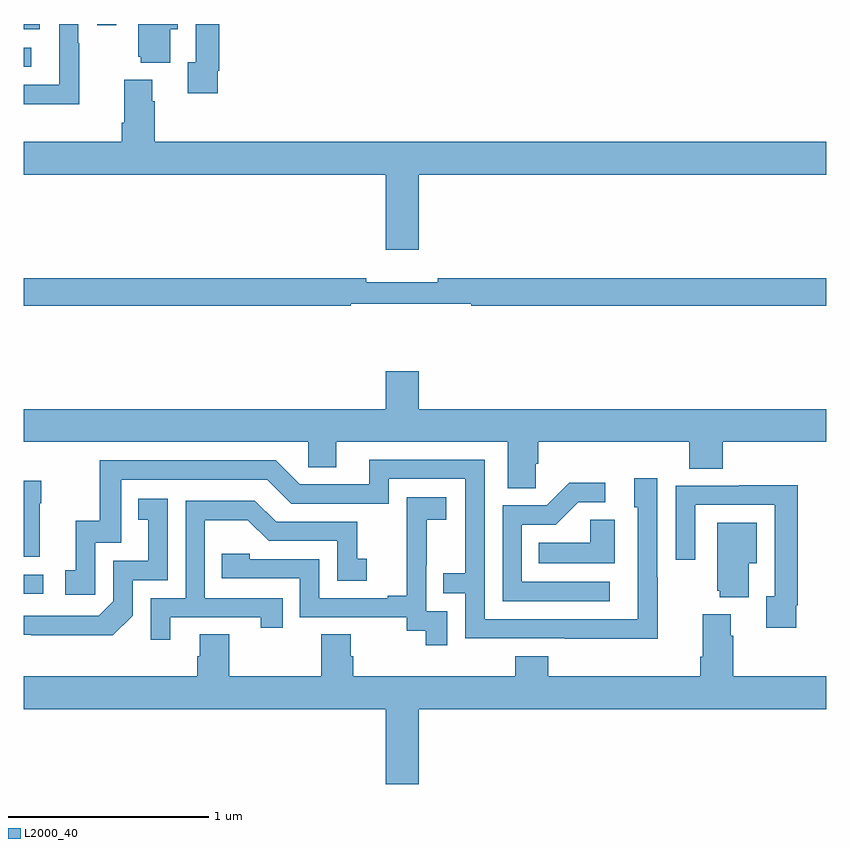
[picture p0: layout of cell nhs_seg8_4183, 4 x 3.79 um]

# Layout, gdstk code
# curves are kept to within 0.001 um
import gdstk
lib = gdstk.Library(unit=1e-6, precision=1e-09)
def R(c, l, rs):  # rectangles x0, y0, x1, y1
    for r in rs: c.add(gdstk.rectangle(r[:2], r[2:], *l))
def P(c, l, *ps):  # polygons
    for p in ps: c.add(gdstk.Polygon(p, *l))
L2000_40 = (2000, 40)

nhs_seg8_4183 = lib.new_cell('nhs_seg8_4183')
R(nhs_seg8_4183, L2000_40, [(367,1133.058,367.096,1133.154), (367,1135.686,367.036,1135.782), (367,1135.874,367.078,1135.9), (367.365,1135.893,367.461,1135.9)])
P(nhs_seg8_4183, L2000_40, [(367.275,1135.805),(367.272,1135.805),(367.272,1135.9),(367.176,1135.9),(367.176,1135.826),(367.175,1135.826),(367.175,1135.596),(367,1135.596),(367,1135.499),(367.275,1135.499)],
  [(367.729,1135.874),(367.768,1135.874),(367.768,1135.9),(367.571,1135.9),(367.571,1135.737),(367.583,1135.737),(367.583,1135.706),(367.729,1135.706)],
  [(367.966,1135.666),(367.973,1135.666),(367.973,1135.9),(367.857,1135.9),(367.857,1135.71),(367.817,1135.71),(367.817,1135.554),(367.966,1135.554)],
  [(368.968,1135.148),(371,1135.148),(371,1135.312),(367.652,1135.312),(367.652,1135.514),(367.639,1135.514),(367.639,1135.621),(367.499,1135.621),(367.499,1135.408),(367.487,1135.408),(367.487,1135.312),(367,1135.312),(367,1135.148),(368.804,1135.148),(368.804,1134.774),(368.968,1134.774)],
  [(368.63,1134.504),(369.23,1134.504),(369.23,1134.496),(371,1134.496),(371,1134.632),(369.064,1134.632),(369.064,1134.613),(368.708,1134.613),(368.708,1134.632),(367,1134.632),(367,1134.496),(368.63,1134.496)],
  [(369.552,1133.707),(369.566,1133.707),(369.566,1133.816),(370.319,1133.816),(370.319,1133.683),(370.484,1133.683),(370.484,1133.816),(371,1133.816),(371,1133.98),(368.968,1133.98),(368.968,1134.169),(368.804,1134.169),(368.804,1133.98),(367,1133.98),(367,1133.816),(368.418,1133.816),(368.418,1133.689),(368.557,1133.689),(368.557,1133.816),(369.413,1133.816),(369.413,1133.584),(369.552,1133.584)],
  [(370.161,1133.141),(370.158,1133.141),(370.158,1133.635),(370.043,1133.635),(370.043,1133.49),(370.062,1133.49),(370.062,1132.932),(369.297,1132.932),(369.297,1133.727),(368.723,1133.727),(368.723,1133.604),(368.376,1133.604),(368.256,1133.724),(367.377,1133.724),(367.377,1133.422),(367.259,1133.422),(367.259,1133.175),(367.206,1133.175),(367.206,1133.055),(367.356,1133.055),(367.356,1133.313),(367.485,1133.313),(367.485,1133.628),(368.214,1133.628),(368.334,1133.508),(368.82,1133.508),(368.82,1133.631),(369.201,1133.631),(369.201,1133.162),(369.091,1133.162),(369.091,1133.061),(369.201,1133.061),(369.201,1132.836),(370.161,1132.835)],
  [(367.078,1133.51),(367.086,1133.51),(367.086,1133.623),(367,1133.623),(367,1133.243),(367.078,1133.243)],
  [(369.922,1133.118),(369.483,1133.118),(369.483,1133.403),(369.652,1133.403),(369.763,1133.514),(369.898,1133.514),(369.898,1133.612),(369.719,1133.612),(369.606,1133.499),(369.387,1133.499),(369.387,1133.022),(369.922,1133.022)],
  [(370.852,1133.002),(370.859,1133.002),(370.859,1133.6),(370.567,1133.6),(370.567,1133.598),(370.251,1133.598),(370.251,1133.229),(370.347,1133.229),(370.347,1133.502),(370.743,1133.502),(370.743,1133.046),(370.703,1133.046),(370.703,1132.89),(370.852,1132.89)],
  [(369.111,1132.971),(369.006,1132.971),(369.006,1133.201),(369.008,1133.201),(369.008,1133.429),(369.106,1133.429),(369.106,1133.539),(368.908,1133.539),(368.908,1133.333),(368.909,1133.333),(368.909,1133.05),(368.813,1133.05),(368.813,1133.037),(368.472,1133.037),(368.472,1133.232),(368.127,1133.232),(368.127,1133.259),(367.987,1133.259),(367.987,1133.136),(368.376,1133.136),(368.376,1132.941),(368.91,1132.941),(368.91,1132.873),(369.003,1132.873),(369.003,1132.803),(369.111,1132.803)],
  [(367.542,1132.95),(367.542,1133.127),(367.716,1133.127),(367.716,1133.533),(367.57,1133.533),(367.57,1133.427),(367.619,1133.427),(367.619,1133.223),(367.446,1133.223),(367.446,1133.022),(367.374,1132.95),(367,1132.95),(367,1132.854),(367.036,1132.853),(367.444,1132.853)],
  [(367.729,1132.941),(368.18,1132.941),(368.18,1132.89),(368.291,1132.89),(368.291,1133.037),(367.902,1133.037),(367.902,1133.426),(368.116,1133.426),(368.22,1133.322),(368.562,1133.322),(368.562,1133.124),(368.71,1133.124),(368.71,1133.233),(368.661,1133.233),(368.661,1133.418),(368.257,1133.418),(368.152,1133.523),(367.806,1133.523),(367.806,1133.037),(367.632,1133.037),(367.632,1132.83),(367.729,1132.83)],
  [(369.946,1133.429),(369.825,1133.429),(369.825,1133.314),(369.568,1133.314),(369.568,1133.21),(369.946,1133.21)],
  [(370.615,1133.21),(370.654,1133.21),(370.654,1133.413),(370.457,1133.413),(370.457,1133.073),(370.469,1133.073),(370.469,1133.042),(370.615,1133.042)],
  [(368.968,1132.484),(371,1132.484),(371,1132.648),(370.538,1132.648),(370.538,1132.85),(370.525,1132.85),(370.525,1132.957),(370.385,1132.957),(370.385,1132.744),(370.373,1132.744),(370.373,1132.648),(369.614,1132.648),(369.614,1132.747),(369.449,1132.747),(369.449,1132.648),(368.642,1132.648),(368.642,1132.746),(368.629,1132.746),(368.629,1132.856),(368.482,1132.856),(368.482,1132.648),(368.025,1132.648),(368.025,1132.856),(367.877,1132.856),(367.877,1132.746),(367.865,1132.746),(367.865,1132.648),(367,1132.648),(367,1132.484),(368.804,1132.484),(368.804,1132.11),(368.968,1132.11)])

lib.write_gds('nhs_seg8_4183.gds')
